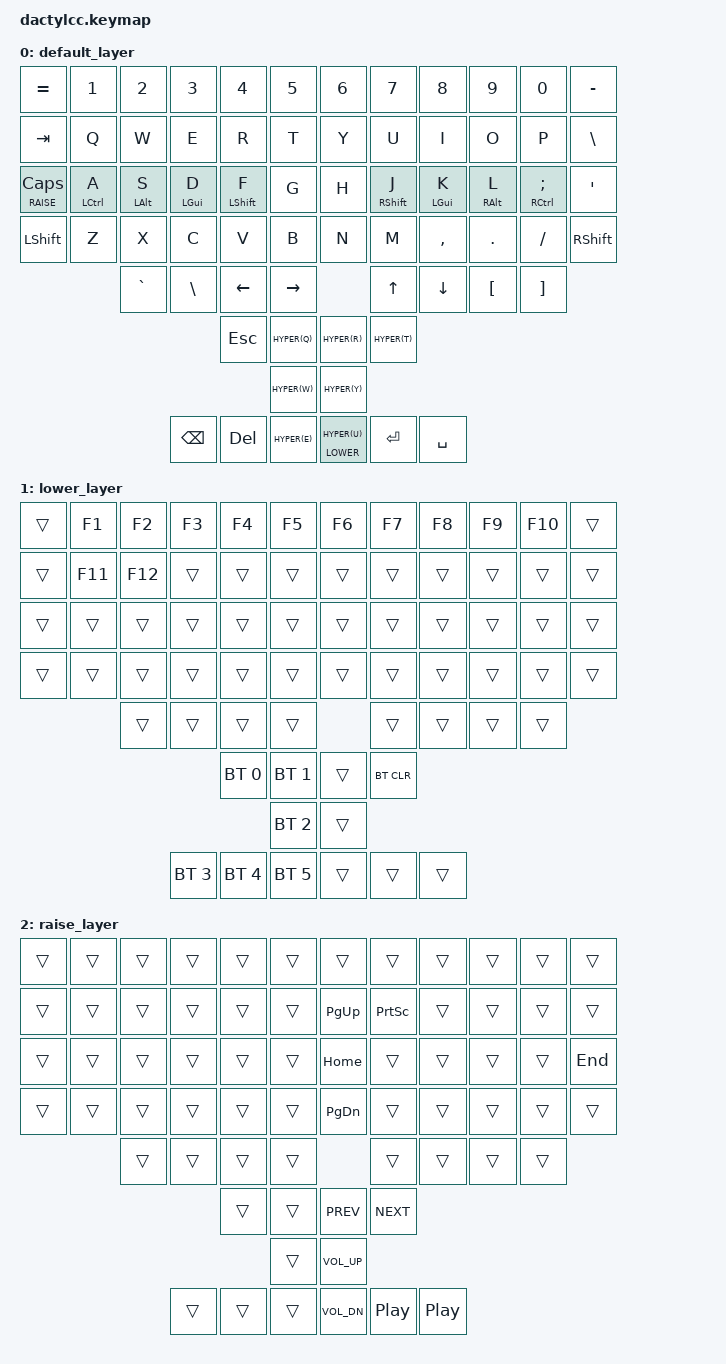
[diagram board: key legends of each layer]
#include <behaviors.dtsi>
#include <dt-bindings/zmk/bt.h>
#include <dt-bindings/zmk/keys.h>

#define DEFAULT 0
#define LOWER   1
#define RAISE   2

#define HYPER(key) LS(LC(LA(LG(key))))
#define MEH(key)   LS(LC(LA(key)))

&mt {
    tapping-term-ms = <500>;
};


/ {

    behaviors {
        hm: homerow_mods {
            compatible = "zmk,behavior-hold-tap";
            #binding-cells = <2>;
            tapping-term-ms = <150>;
            quick-tap-ms = <0>;
            flavor = "tap-preferred";
            bindings = <&kp>, <&kp>;
        };
    };
};

/ {
        keymap {
        compatible = "zmk,keymap";

        default_layer {
            bindings = <
&kp EQUAL       &kp N1        &kp N2       &kp N3       &kp N4         &kp N5              &kp N6   &kp N7         &kp N8       &kp N9      &kp N0     &kp MINUS
&kp TAB         &kp Q         &kp W        &kp E        &kp R          &kp T               &kp Y    &kp U          &kp I        &kp O       &kp P      &kp BSLH
&lt RAISE CAPS  &hm LCTRL A   &hm LALT S   &hm LGUI D   &hm LSHIFT F   &kp G               &kp H    &hm RSHIFT J   &hm LGUI K   &hm RALT L  &hm RCTRL SEMI   &kp SQT
&kp LSHFT       &kp Z         &kp X        &kp C        &kp V          &kp B               &kp N    &kp M          &kp COMMA    &kp DOT     &kp FSLH   &kp RSHFT
                        &kp GRAVE     &kp BSLH     &kp LEFT     &kp RIGHT                       &kp UP         &kp DOWN     &kp LBKT    &kp RBKT
                                                         &kp ESC &kp HYPER(Q)       &kp HYPER(R) &kp HYPER(T)
                                                                 &kp HYPER(W)       &kp HYPER(Y)
                                               &kp BSPC &kp DEL  &kp HYPER(E)       &lt LOWER HYPER(U)   &kp RET   &kp SPACE
            >;
        };

        lower_layer {
            bindings = <
&trans   &kp F1    &kp F2   &kp F3   &kp F4   &kp F5            &kp F6     &kp F7   &kp F8   &kp F9    &kp F10  &trans
&trans   &kp F11   &kp F12  &trans   &trans   &trans            &trans     &trans    &trans  &trans    &trans   &trans
&trans   &trans    &trans   &trans   &trans   &trans            &trans     &trans    &trans  &trans    &trans   &trans
&trans   &trans    &trans   &trans   &trans   &trans            &trans     &trans    &trans  &trans    &trans   &trans
         &trans    &trans   &trans   &trans                                &trans    &trans   &trans   &trans
                             &bt BT_SEL 0 &bt BT_SEL 1        &trans &bt BT_CLR
                                          &bt BT_SEL 2        &trans
               &bt BT_SEL 3  &bt BT_SEL 4 &bt BT_SEL 5        &trans   &trans   &trans 
            >;
        };

        raise_layer {
            bindings = <
&trans   &trans    &trans   &trans   &trans   &trans            &trans     &trans      &trans   &trans   &trans   &trans
&trans   &trans    &trans   &trans   &trans   &trans            &kp PG_UP  &kp PSCRN   &trans   &trans   &trans   &trans
&trans   &trans    &trans   &trans   &trans   &trans            &kp HOME   &trans      &trans   &trans   &trans   &kp END
&trans   &trans    &trans   &trans   &trans   &trans            &kp PG_DN  &trans      &trans   &trans   &trans   &trans
         &trans    &trans   &trans   &trans                                &trans      &trans   &trans   &trans
                                       &trans   &trans        &kp C_PREV    &kp C_NEXT
                                                &trans        &kp C_VOL_UP
                              &trans   &trans   &trans        &kp C_VOL_DN  &kp C_PP  &kp C_PP 
            >;
        };

    };
};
